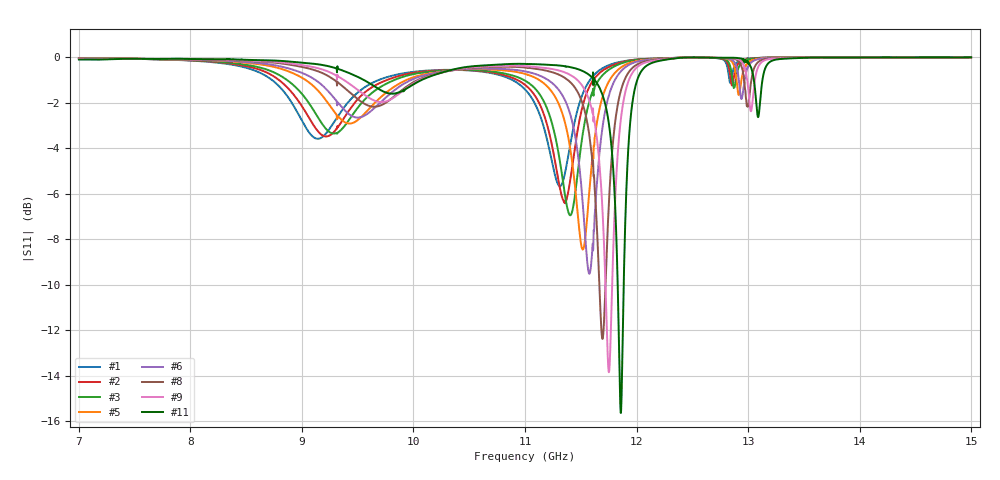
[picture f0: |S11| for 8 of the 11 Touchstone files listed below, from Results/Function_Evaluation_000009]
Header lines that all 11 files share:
! TOUCHSTONE file generated by CST DESIGN STUDIO
! Project name: C:\Work\MatlabApps\UnitCellType2OptimizationMatlab\CST\unitcell.cst
! Tree item: Tasks\Sweep1\SPara1\S-Parameters
! Header version: 2024
! Port assignment regex: !\s*Touchstone port\s*([0-9]+)\s*=\s*(CST MWS port|CST DES external port|CST DES block port)\s*(.+)\s* \(\"(.*)\"\)(\s*mode\s*([0-9]+))?.*
! Touchstone port assignment:
! Touchstone port 1 = CST DES external port 1 ("")
# GHz S MA R 50
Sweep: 7 GHz to 15 GHz
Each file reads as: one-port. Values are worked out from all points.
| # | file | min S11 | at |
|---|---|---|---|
| 1 | DS_for_MWS-run-0001.s1p | -5.7 dB | 11.31 GHz |
| 2 | DS_for_MWS-run-0002.s1p | -6.4 dB | 11.36 GHz |
| 3 | DS_for_MWS-run-0003.s1p | -6.9 dB | 11.41 GHz |
| 4 | DS_for_MWS-run-0004.s1p | -7.6 dB | 11.46 GHz |
| 5 | DS_for_MWS-run-0005.s1p | -8.4 dB | 11.52 GHz |
| 6 | DS_for_MWS-run-0006.s1p | -9.5 dB | 11.58 GHz |
| 7 | DS_for_MWS-run-0007.s1p | -10.8 dB | 11.64 GHz |
| 8 | DS_for_MWS-run-0008.s1p | -12.4 dB | 11.69 GHz |
| 9 | DS_for_MWS-run-0009.s1p | -13.8 dB | 11.75 GHz |
| 10 | DS_for_MWS-run-0010.s1p | -14.9 dB | 11.81 GHz |
| 11 | DS_for_MWS-run-0011.s1p | -15.6 dB | 11.86 GHz |
